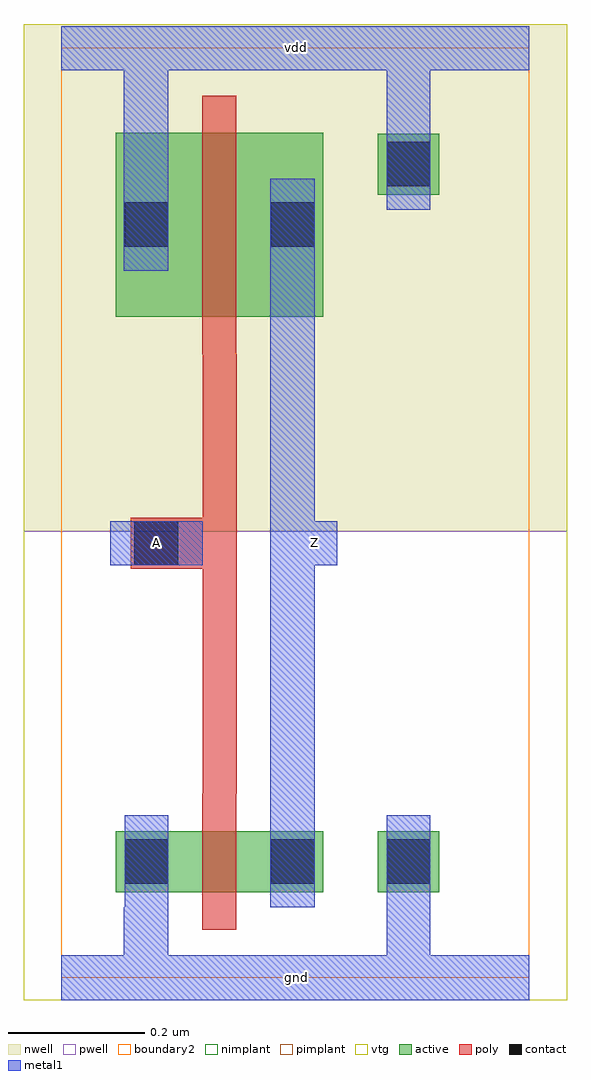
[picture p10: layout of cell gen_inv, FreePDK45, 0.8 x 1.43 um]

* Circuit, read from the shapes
.subckt gen_inv A Z gnd vdd
M1 Z A gnd gnd nfet w=0.09u l=0.05u
M2 Z A vdd vdd pfet w=0.27u l=0.05u
.ends

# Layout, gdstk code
import gdstk
lib = gdstk.Library(unit=1e-6, precision=1e-09)
def R(c, l, rs):  # rectangles x0, y0, x1, y1
    for r in rs: c.add(gdstk.rectangle(r[:2], r[2:], *l))
active = (1, 0)
pwell = (2, 0)
nwell = (3, 0)
nimplant = (4, 0)
pimplant = (5, 0)
vtg = (6, 0)
poly = (9, 0)
contact = (10, 0)
metal1 = (11, 0)
boundary2 = (239, 0)

sram_1rw_32x16_freepdk45 = lib.new_cell('sram_1rw_32x16_freepdk45_contact_11')
R(sram_1rw_32x16_freepdk45, active, [(0,0.022,0.09,0.112)])
R(sram_1rw_32x16_freepdk45, nwell, [(-0.055,-0.033,0.145,0.168)])
R(sram_1rw_32x16_freepdk45, pimplant, [(0,0.022,0.09,0.112)])
R(sram_1rw_32x16_freepdk45, contact, [(0.013,0.035,0.077,0.1)])
R(sram_1rw_32x16_freepdk45, metal1, [(0.013,0,0.077,0.135)])
R(sram_1rw_32x16_freepdk45, boundary2, [(-0.055,-0.033,0.145,0.168)])

c_sram_1rw_32x16_freepdk45 = lib.new_cell('sram_1rw_32x16_freepdk45_pmos_m1_w0_270_sm1_dm1_da_p')
R(c_sram_1rw_32x16_freepdk45, active, [(0,0,0.305,0.27)])
R(c_sram_1rw_32x16_freepdk45, nwell, [(-0.08,-0.08,0.385,0.35)])
R(c_sram_1rw_32x16_freepdk45, pimplant, [(0,0,0.305,0.27)])
R(c_sram_1rw_32x16_freepdk45, vtg, [(-0.08,-0.08,0.385,0.35)])
R(c_sram_1rw_32x16_freepdk45, poly, [(0.127,-0.055,0.177,0.325), (0.127,-0.055,0.177,0.325)])
R(c_sram_1rw_32x16_freepdk45, metal1, [(0.013,0.068,0.077,0.203), (0.227,0.068,0.292,0.203)])
R(c_sram_1rw_32x16_freepdk45, boundary2, [(-0.08,-0.08,0.385,0.35)])
c_sram_1rw_32x16_freepdk45.add(gdstk.Reference(sram_1rw_32x16_freepdk45, (0,0.068)))
c_sram_1rw_32x16_freepdk45.add(gdstk.Reference(sram_1rw_32x16_freepdk45, (0.215,0.068)))
c_sram_1rw_32x16_freepdk45.add(gdstk.Label('G', (0.152,0.135), layer=9, texttype=0))
c_sram_1rw_32x16_freepdk45.add(gdstk.Label('S', (0.045,0.135), layer=11, texttype=0))
c_sram_1rw_32x16_freepdk45.add(gdstk.Label('D', (0.26,0.135), layer=11, texttype=0))

c_sram_1rw_32x16_freepdk45_ = lib.new_cell('sram_1rw_32x16_freepdk45_contact_10')
R(c_sram_1rw_32x16_freepdk45_, active, [(0,0.022,0.09,0.112)])
R(c_sram_1rw_32x16_freepdk45_, pwell, [(-0.055,-0.033,0.145,0.168)])
R(c_sram_1rw_32x16_freepdk45_, nimplant, [(0,0.022,0.09,0.112)])
R(c_sram_1rw_32x16_freepdk45_, contact, [(0.013,0.035,0.077,0.1)])
R(c_sram_1rw_32x16_freepdk45_, metal1, [(0.013,0,0.077,0.135)])
R(c_sram_1rw_32x16_freepdk45_, boundary2, [(-0.055,-0.033,0.145,0.168)])

c_sram_1rw_32x16_freepdk45__ = lib.new_cell('sram_1rw_32x16_freepdk45_nmos_m1_w0_090_sm1_dm1_da_p')
R(c_sram_1rw_32x16_freepdk45__, active, [(0,0,0.305,0.09)])
R(c_sram_1rw_32x16_freepdk45__, pwell, [(-0.08,-0.08,0.385,0.17)])
R(c_sram_1rw_32x16_freepdk45__, nimplant, [(0,0,0.305,0.09)])
R(c_sram_1rw_32x16_freepdk45__, vtg, [(-0.08,-0.08,0.385,0.17)])
R(c_sram_1rw_32x16_freepdk45__, poly, [(0.127,-0.055,0.177,0.145), (0.127,-0.055,0.177,0.145)])
R(c_sram_1rw_32x16_freepdk45__, metal1, [(0.013,-0.022,0.077,0.112), (0.227,-0.022,0.292,0.112)])
R(c_sram_1rw_32x16_freepdk45__, boundary2, [(-0.08,-0.08,0.385,0.17)])
c_sram_1rw_32x16_freepdk45__.add(gdstk.Reference(c_sram_1rw_32x16_freepdk45_, (0,-0.022)))
c_sram_1rw_32x16_freepdk45__.add(gdstk.Reference(c_sram_1rw_32x16_freepdk45_, (0.215,-0.022)))
c_sram_1rw_32x16_freepdk45__.add(gdstk.Label('G', (0.152,0.045), layer=9, texttype=0))
c_sram_1rw_32x16_freepdk45__.add(gdstk.Label('S', (0.045,0.045), layer=11, texttype=0))
c_sram_1rw_32x16_freepdk45__.add(gdstk.Label('D', (0.26,0.045), layer=11, texttype=0))

c_sram_1rw_32x16_freepdk45___ = lib.new_cell('sram_1rw_32x16_freepdk45_contact_12')
R(c_sram_1rw_32x16_freepdk45___, active, [(0,0.022,0.09,0.112)])
R(c_sram_1rw_32x16_freepdk45___, nwell, [(-0.055,-0.033,0.145,0.168)])
R(c_sram_1rw_32x16_freepdk45___, nimplant, [(0,0.022,0.09,0.112)])
R(c_sram_1rw_32x16_freepdk45___, contact, [(0.013,0.035,0.077,0.1)])
R(c_sram_1rw_32x16_freepdk45___, metal1, [(0.013,0,0.077,0.135)])
R(c_sram_1rw_32x16_freepdk45___, boundary2, [(-0.055,-0.033,0.145,0.168)])

c_sram_1rw_32x16_freepdk45____ = lib.new_cell('sram_1rw_32x16_freepdk45_contact_13')
R(c_sram_1rw_32x16_freepdk45____, active, [(0,0.022,0.09,0.112)])
R(c_sram_1rw_32x16_freepdk45____, pwell, [(-0.055,-0.033,0.145,0.168)])
R(c_sram_1rw_32x16_freepdk45____, pimplant, [(0,0.022,0.09,0.112)])
R(c_sram_1rw_32x16_freepdk45____, contact, [(0.013,0.035,0.077,0.1)])
R(c_sram_1rw_32x16_freepdk45____, metal1, [(0.013,0,0.077,0.135)])
R(c_sram_1rw_32x16_freepdk45____, boundary2, [(-0.055,-0.033,0.145,0.168)])

c_sram_1rw_32x16_freepdk45_____ = lib.new_cell('sram_1rw_32x16_freepdk45_contact_14')
R(c_sram_1rw_32x16_freepdk45_____, poly, [(0.03,0,0.105,0.075)])
R(c_sram_1rw_32x16_freepdk45_____, contact, [(0.035,0.005,0.1,0.07)])
R(c_sram_1rw_32x16_freepdk45_____, metal1, [(0,0.005,0.135,0.07)])
R(c_sram_1rw_32x16_freepdk45_____, boundary2, [(0,0,0.135,0.075)])

gen_inv = lib.new_cell('gen_inv')
R(gen_inv, pwell, [(-0.055,-0.033,0.743,0.655)])
R(gen_inv, nwell, [(-0.055,0.655,0.743,1.4)])
R(gen_inv, vtg, [(-0.055,-0.033,0.743,0.655), (-0.055,0.655,0.743,1.4)])
R(gen_inv, poly, [(0.208,0.27,0.258,0.915), (0.14,0.6,0.208,0.675)])
R(gen_inv, metal1, [(0,-0.033,0.687,0.033), (0.092,-0.033,0.157,0.103), (0.478,0,0.542,0.17), (0.307,0.103,0.372,1.173), (0.072,0.605,0.208,0.67), (0.34,0.605,0.405,0.67), (0.092,1.038,0.157,1.397), (0.478,1.195,0.542,1.365), (0,1.332,0.687,1.397)])
R(gen_inv, boundary2, [(0,0,0.687,1.365), (0,0,0.687,1.365)])
gen_inv.add(gdstk.Reference(c_sram_1rw_32x16_freepdk45, (0.08,0.97)))
gen_inv.add(gdstk.Reference(c_sram_1rw_32x16_freepdk45__, (0.08,0.125)))
gen_inv.add(gdstk.Reference(c_sram_1rw_32x16_freepdk45___, (0.465,1.127)))
gen_inv.add(gdstk.Reference(c_sram_1rw_32x16_freepdk45____, (0.465,0.103)))
gen_inv.add(gdstk.Reference(c_sram_1rw_32x16_freepdk45_____, (0.072,0.6)))
gen_inv.add(gdstk.Label('A', (0.14,0.638), layer=11, texttype=0))
gen_inv.add(gdstk.Label('Z', (0.372,0.638), layer=11, texttype=0))
gen_inv.add(gdstk.Label('gnd', (0.345,0), layer=11, texttype=0))
gen_inv.add(gdstk.Label('vdd', (0.345,1.365), layer=11, texttype=0))

lib.write_gds('gen_inv.gds')
